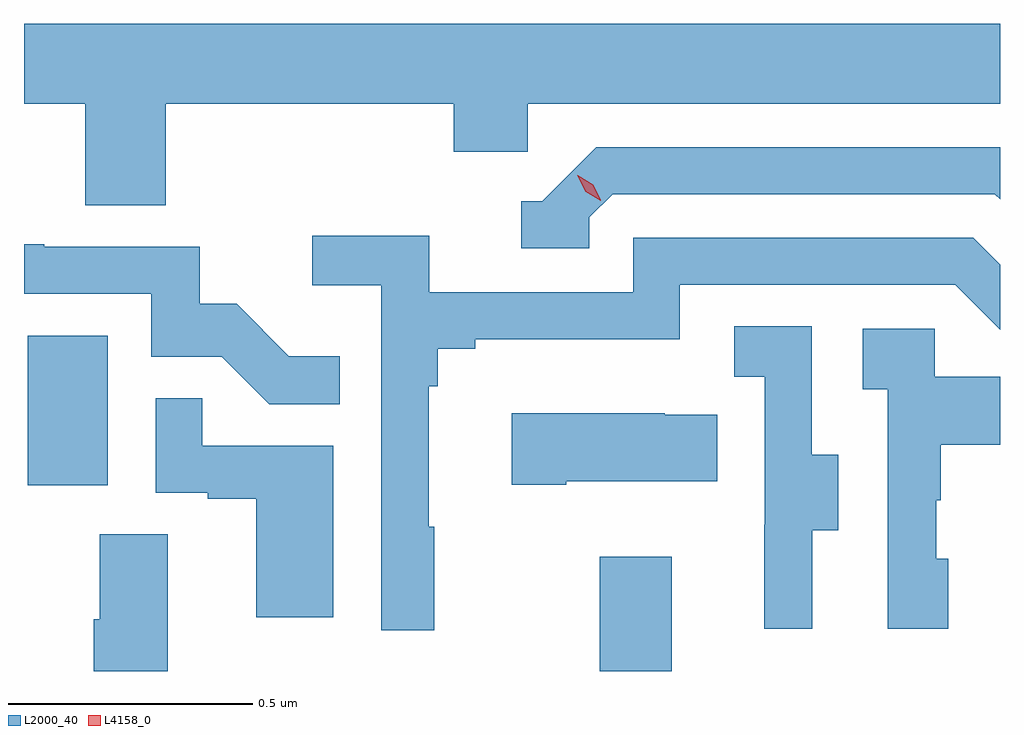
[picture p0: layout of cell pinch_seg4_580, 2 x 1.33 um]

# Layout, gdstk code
import gdstk
lib = gdstk.Library(unit=1e-6, precision=1e-09)
def R(c, l, rs):  # rectangles x0, y0, x1, y1
    for r in rs: c.add(gdstk.rectangle(r[:2], r[2:], *l))
def P(c, l, *ps):  # polygons
    for p in ps: c.add(gdstk.Polygon(p, *l))
L2000_40 = (2000, 40)
L4158_0 = (4158, 0)

pinch_seg4_580 = lib.new_cell('pinch_seg4_580')
R(pinch_seg4_580, L2000_40, [(1091.566,771.681,1091.713,771.916), (1090.394,772.062,1090.558,772.369)])
P(pinch_seg4_580, L2000_40, [(1090.386,772.844),(1090.511,772.844),(1090.511,772.636),(1090.676,772.636),(1090.676,772.844),(1091.267,772.844),(1091.267,772.746),(1091.418,772.746),(1091.418,772.844),(1092.386,772.844),(1092.386,773.008),(1090.386,773.008)],
  [(1091.544,772.611),(1091.592,772.659),(1092.375,772.659),(1092.386,772.648),(1092.386,772.755),(1091.559,772.755),(1091.448,772.644),(1091.405,772.644),(1091.405,772.548),(1091.544,772.548)],
  [(1091.227,771.977),(1091.215,771.977),(1091.215,772.265),(1091.234,772.265),(1091.234,772.342),(1091.311,772.342),(1091.311,772.361),(1091.73,772.361),(1091.73,772.473),(1092.294,772.473),(1092.386,772.381),(1092.386,772.514),(1092.331,772.569),(1091.634,772.569),(1091.634,772.458),(1091.216,772.458),(1091.216,772.574),(1090.977,772.574),(1090.977,772.472),(1091.118,772.472),(1091.118,771.765),(1091.227,771.765)],
  [(1091.033,772.327),(1090.929,772.327),(1090.822,772.434),(1090.746,772.434),(1090.746,772.551),(1090.427,772.551),(1090.427,772.556),(1090.386,772.556),(1090.386,772.455),(1090.647,772.455),(1090.647,772.326),(1090.791,772.326),(1090.889,772.228),(1091.033,772.228)],
  [(1092.001,771.97),(1092.055,771.97),(1092.055,772.125),(1092,772.125),(1092,772.388),(1091.841,772.388),(1091.841,772.285),(1091.904,772.285),(1091.904,771.981),(1091.903,771.981),(1091.903,771.768),(1092.001,771.768)],
  [(1092.28,771.912),(1092.255,771.912),(1092.255,772.031),(1092.265,772.031),(1092.265,772.145),(1092.386,772.145),(1092.386,772.285),(1092.252,772.285),(1092.252,772.383),(1092.105,772.383),(1092.105,772.259),(1092.156,772.259),(1092.156,771.768),(1092.28,771.768)],
  [(1091.02,772.143),(1090.751,772.143),(1090.751,772.241),(1090.656,772.241),(1090.656,772.047),(1090.763,772.047),(1090.763,772.035),(1090.862,772.035),(1090.862,771.792),(1091.02,771.792)],
  [(1091.497,772.07),(1091.807,772.07),(1091.807,772.207),(1091.699,772.207),(1091.699,772.21),(1091.385,772.21),(1091.385,772.063),(1091.497,772.063)],
  [(1090.681,771.962),(1090.541,771.962),(1090.541,771.788),(1090.529,771.788),(1090.529,771.681),(1090.681,771.681)])
P(pinch_seg4_580, L4158_0, [(1091.568,772.645),(1091.537,772.664),(1091.52,772.697),(1091.52,772.697),(1091.521,772.697),(1091.552,772.678),(1091.568,772.646),(1091.568,772.645)])

lib.write_gds('pinch_seg4_580.gds')
